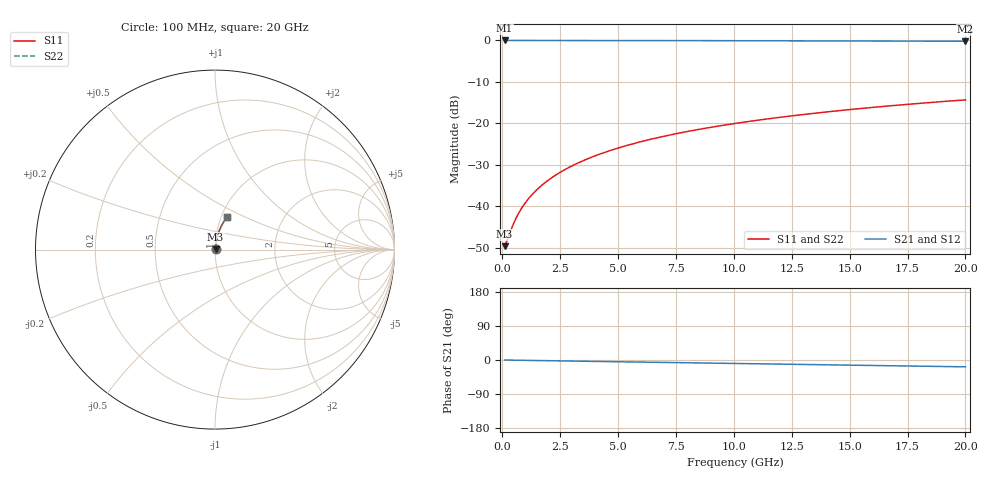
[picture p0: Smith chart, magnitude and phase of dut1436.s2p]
! Touchstone file exported from HFSS 2026.1.0
!  File:  C:/ffzhzh/LocalFiles/Ansys_Project_Files/temp_train_BSMRDL_1436_1783180465_55132.aedt
!  Generated:  11:55:37 PM Jul  4, 2026
!  Design:  BSMRDL
!  Project:  temp_train_BSMRDL_1436_1783180465_55132
! Variables:
!  h_bsmrdl = 2.06um
!  h_ox = 20um
!  h_rdl = 5um
!  h_sub = 80um
!  h_tmrdl = 5um
!  h_tsv = 80um
!  h_via = 3um
!  l_bsmrdl = 230.49um
!  l_sub = 630.49um
!  l_tmrdl = 200um
!  m_sub = 200um
!  pitch = 32.55um
!  r_tsv = 6um
!  s_tmrdl = 10um
!  w_bsmrdl = 14.19um
!  w_sub = 500um
!  w_tmrdl = 12um
!  x_tsv_center1 = 206um
!  x_tsv_center2 = 450.68um
!  x_tsv_center3 = 662.68um
!  x_tsv_center4 = 907.36um
!  x_tsv_center5 = 1119.36um
!  x_tsv_center6 = 1364.04um
# GHz S MA R 50.000000
! Terminal data exported
! Port[1] = BSM_RDL1_1_T1
! Port[2] = BSM_RDL1_1_T2
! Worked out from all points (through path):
!   200 points, 100 MHz to 20 GHz, reference 50 ohm
!   highest |S21| = -0.03 dB at 100 MHz (marker M1); lowest = -0.2 dB at 20 GHz (marker M2)
!   group delay of S21, straight-line fit = 2.51 ps
!   lowest |S11| = -49.7 dB at 100 MHz (marker M3), VSWR 1.01, Z = 50.3 + j0.109 ohm
!   |S11| at or under -10 dB: start of sweep to end of sweep
!   |S22| runs from -49.7 to -14.4 dB; largest |S21 - S12| = 3.1e-15
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0.1  0.00329 19.3  0.9969 -0.1  0.9969 -0.1  0.00329 19.3
! Gamma 0 0 0 0
! Port Impedance 50 0 50 0
0.2  0.003814 34.6  0.9969 -0.2  0.9969 -0.2  0.003814 34.6
0.4  0.005387 52.8  0.9968 -0.4  0.9968 -0.4  0.005387 52.8
0.5  0.006289 58.1  0.9967 -0.5  0.9967 -0.5  0.006289 58.1
0.7  0.008167 64.7  0.9966 -0.7  0.9966 -0.7  0.008167 64.7
0.8  0.009121 67.0  0.9965 -0.8  0.9965 -0.8  0.009121 67.0
1  0.01104 70.2  0.9964 -0.9  0.9964 -0.9  0.01104 70.2
1.3  0.01393 73.5  0.9962 -1.2  0.9962 -1.2  0.01393 73.5
1.7  0.0178 76.1  0.9961 -1.6  0.9961 -1.6  0.0178 76.1
2.2  0.02267 78.1  0.9959 -2.0  0.9959 -2.0  0.02267 78.1
2.8  0.02855 79.4  0.9956 -2.6  0.9956 -2.6  0.02855 79.4
3.5  0.03543 80.2  0.9953 -3.2  0.9953 -3.2  0.03543 80.2
4.2  0.04233 80.5  0.995 -3.9  0.995 -3.9  0.04233 80.5
5  0.05021 80.5  0.9945 -4.6  0.9945 -4.6  0.05021 80.5
5.9  0.05906 80.3  0.9939 -5.4  0.9939 -5.4  0.05906 80.3
6.8  0.06789 79.9  0.9932 -6.3  0.9932 -6.3  0.06789 79.9
8.3  0.08252 79.1  0.9918 -7.6  0.9918 -7.6  0.08252 79.1
10.1  0.09992 77.8  0.9899 -9.3  0.9899 -9.3  0.09992 77.8
11.7  0.1152 76.6  0.988 -10.7  0.988 -10.7  0.1152 76.6
13.4  0.1313 75.3  0.9856 -12.2  0.9856 -12.2  0.1313 75.3
16.7  0.1618 72.6  0.9804 -15.2  0.9804 -15.2  0.1618 72.6
20  0.1914 69.8  0.9744 -18.0  0.9744 -18.0  0.1914 69.8
